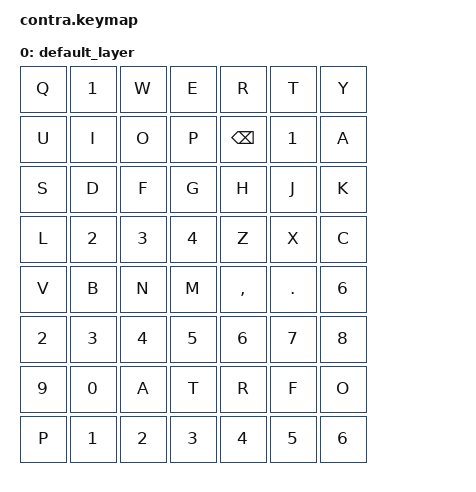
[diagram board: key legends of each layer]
/*
 * Copyright (c) 2021 The ZMK Contributors
 *
 * SPDX-License-Identifier: MIT
 */

#include <behaviors.dtsi>
#include <dt-bindings/zmk/keys.h>
#include <dt-bindings/zmk/bt.h>

#define DEFAULT  0
#define NUM_MODS 1
#define BT_CTRL  2


/ {
    kscan {
      compatible = "zmk,kscan-gpio-matrix";
      diode-direction = "col2row";
      col-gpios
          = <&pro_micro 6 GPIO_ACTIVE_HIGH>
          , <&pro_micro 7 GPIO_ACTIVE_HIGH>
          , <&pro_micro 8 GPIO_ACTIVE_HIGH>
          , <&pro_micro 9 GPIO_ACTIVE_HIGH>
          , <&pro_micro 14 GPIO_ACTIVE_HIGH>
          , <&pro_micro 16 GPIO_ACTIVE_HIGH>
          , <&pro_micro 10 GPIO_ACTIVE_HIGH>
          ;
      row-gpios
          = <&pro_micro 2 (GPIO_ACTIVE_HIGH | GPIO_PULL_DOWN)>
          , <&pro_micro 3 (GPIO_ACTIVE_HIGH | GPIO_PULL_DOWN)>
          , <&pro_micro 4 (GPIO_ACTIVE_HIGH | GPIO_PULL_DOWN)>
          , <&pro_micro 5 (GPIO_ACTIVE_HIGH | GPIO_PULL_DOWN)>
          , <&pro_micro 15 (GPIO_ACTIVE_HIGH | GPIO_PULL_DOWN)>
          , <&pro_micro 18 (GPIO_ACTIVE_HIGH | GPIO_PULL_DOWN)>
          , <&pro_micro 19 (GPIO_ACTIVE_HIGH | GPIO_PULL_DOWN)>
          , <&pro_micro 20 (GPIO_ACTIVE_HIGH | GPIO_PULL_DOWN)>
          ;
    };
    
    keymap {
        compatible = "zmk,keymap";

        default_layer {
            bindings = <
    &kp Q   &kp N1     &kp W    &kp E     &kp R       &kp T      &kp Y     
    &kp U   &kp I      &kp O    &kp P     &kp BSPC    &kp N1     &kp A
    &kp S   &kp D      &kp F    &kp G     &kp H       &kp J      &kp K
    &kp L   &kp N2     &kp N3   &kp N4    &kp Z       &kp X      &kp C
    &kp V   &kp B      &kp N    &kp M     &kp COMMA   &kp DOT    &kp N6 
    &kp N2  &kp N3     &kp N4   &kp N5    &kp N6      &kp N7     &kp N8
    &kp N9  &kp N0     &kp A    &kp T     &kp R       &kp F      &kp O
    &kp P   &kp N1     &kp N2   &kp N3    &kp N4      &kp N5     &kp N6 
            >;
        };
    };
};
